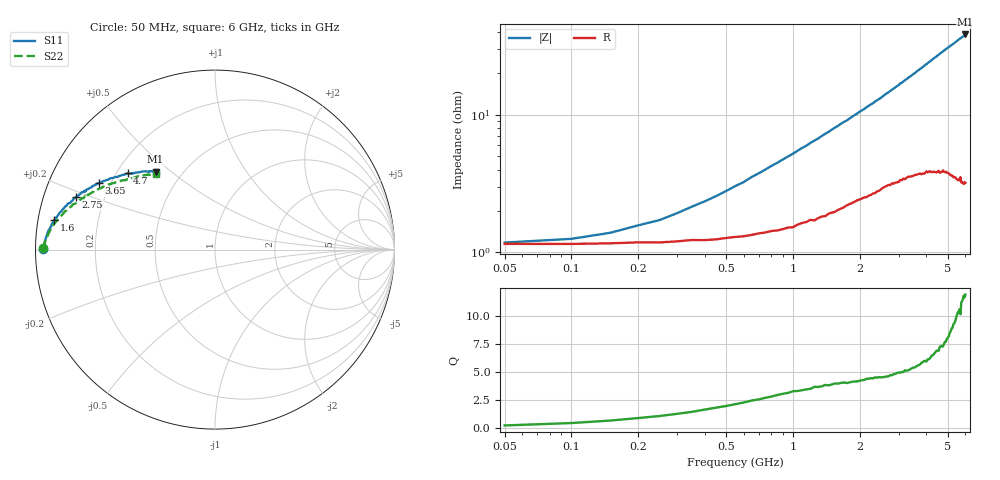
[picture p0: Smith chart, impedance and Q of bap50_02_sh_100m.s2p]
! Created by janssen on Wed Jul 24 12:32:46 METDST 2002
# HZ S MA R 50
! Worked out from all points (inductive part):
!   120 points, 50 MHz to 6 GHz, reference 50 ohm
!   read as one part in shunt: L = 798 pH near 900 MHz
!   highest Q = 11.9 at 6 GHz (marker M1), where L = 1.01 nH
!   S11 on the Smith chart (normalised r, x): 50 MHz: 0.02, +0.00; 1.6 GHz: 0.05, +0.09; 2.75 GHz: 0.10, +0.18; 3.65 GHz: 0.16, +0.26; 4.7 GHz: 0.24, +0.35; 6 GHz: 0.36, +0.44
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5e7  0.9559 179.7  0.04517 11.7  0.04471 12.4  0.9562 179.6
1e8  0.9553 179.3  0.048 22.5  0.04816 22.0  0.9552 179.2
1.5e8  0.9536 178.9  0.05304 31.9  0.05248 31.6  0.953 178.8
2e8  0.9528 178.6  0.05995 39.7  0.05937 39.1  0.952 178.5
3.5e8  0.9501 177.6  0.08177 52.6  0.08129 52.3  0.9482 177.6
5.5e8  0.9464 176.4  0.1151 61.1  0.1148 61.1  0.9434 176.4
6.5e8  0.9431 175.8  0.1333 63.4  0.1321 62.9  0.9401 175.7
8e8  0.939 174.9  0.1599 65.1  0.1591 64.8  0.9333 174.9
1.05e9  0.9326 173.3  0.2051 66.2  0.2045 66.2  0.9249 173.3
1.35e9  0.9196 171.0  0.2593 65.8  0.2585 65.8  0.9093 171.3
1.6e9  0.9098 169.4  0.3047 64.9  0.3023 64.5  0.8942 169.5
2.05e9  0.8801 165.6  0.3839 62.0  0.3805 61.8  0.865 166.1
2.75e9  0.8269 159.2  0.5011 56.5  0.4956 56.5  0.8048 160.0
3e9  0.8094 156.8  0.5407 54.5  0.5332 54.4  0.7825 157.6
3.05e9  0.7898 155.7  0.5438 53.8  0.5361 54.0  0.764 157.0
3.1e9  0.7985 155.9  0.5559 53.7  0.5482 53.7  0.7725 156.8
3.65e9  0.7445 150.2  0.6335 48.7  0.6231 48.9  0.7164 150.8
4.05e9  0.7061 145.7  0.6804 45.3  0.6722 45.8  0.6774 146.9
4.7e9  0.6465 138.9  0.7457 40.1  0.7348 40.9  0.62 140.3
5.05e9  0.6151 135.8  0.7728 37.6  0.7666 38.6  0.5919 136.7
5.5e9  0.5803 131.2  0.8056 34.6  0.8012 35.5  0.5652 132.7
6e9  0.5459 127.3  0.8325 31.3  0.8332 32.2  0.534 128.2
